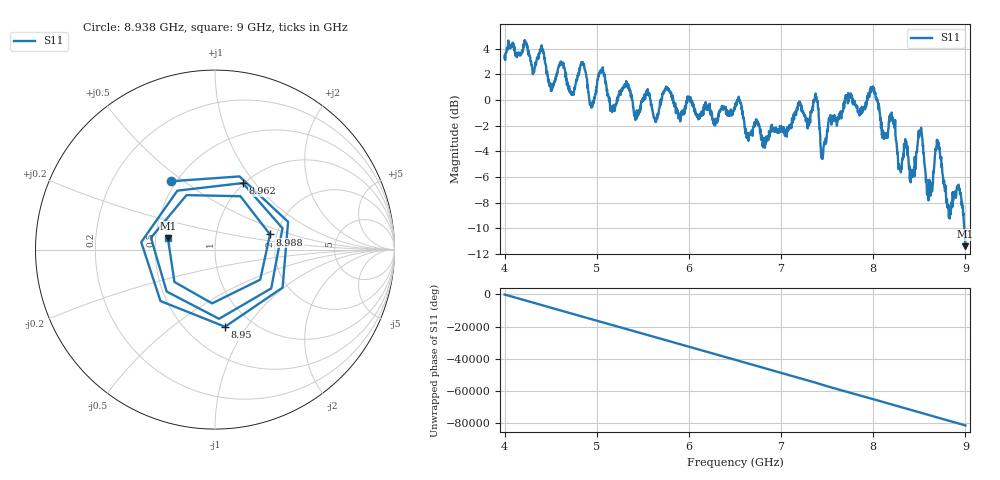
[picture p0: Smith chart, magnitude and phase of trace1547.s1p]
! Created with skrf 1.8.0 (http://scikit-rf.org).
# Hz S RI R 50.0
!freq ReS11 ImS11
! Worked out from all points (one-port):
!   1601 points, 4 GHz to 9 GHz, reference 50 ohm
!   lowest |S11| = -11.4 dB at 9 GHz (marker M1), VSWR 1.74, Z = 29 + j3.93 ohm
!   |S11| at or under -10 dB: 8.988322 GHz to end of sweep
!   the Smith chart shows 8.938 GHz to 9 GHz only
!   S11 on the Smith chart (normalised r, x): 8.938 GHz: 0.47, +0.45; 8.95 GHz: 0.75, -0.80; 8.962 GHz: 0.99, +0.87; 8.988 GHz: 1.84, +0.35; 9 GHz: 0.58, +0.08
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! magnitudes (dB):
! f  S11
! 4 GHz  3.3
! 4.625 GHz  2.7
! 4.728 GHz  0.6
! 4.85 GHz  2.8
! 4.944 GHz  -0.3
! 5.047 GHz  2.4
! 5.25 GHz  0.6
! 5.875 GHz  -0.8
! 6.5 GHz  -0.7
! 6.822 GHz  -3.3
! 7.125 GHz  -1.6
! 7.375 GHz  0.5
! 7.453 GHz  -4.3
! 7.75 GHz  0.3
! 7.997 GHz  1.1
! 8.212 GHz  -1.4
! 8.284 GHz  -5.3
! 8.375 GHz  -4.1
! 8.422 GHz  -6.0
! 8.509 GHz  -2.4
! 8.6 GHz  -7.8
! 8.7 GHz  -3.1
! 8.819 GHz  -9.0
! 8.938 GHz  -6.9
! 8.95 GHz  -7.3
! 8.962 GHz  -7.9
! 8.988 GHz  -10.0
! 9 GHz  -11.4
